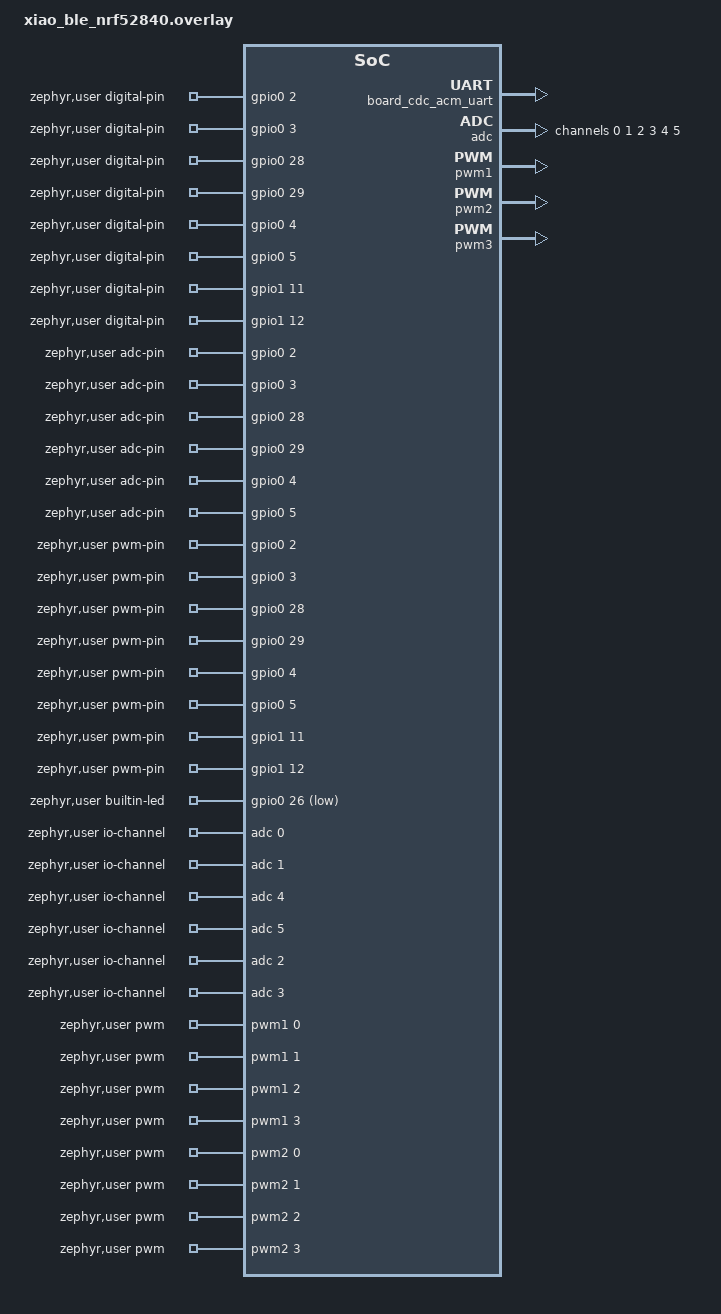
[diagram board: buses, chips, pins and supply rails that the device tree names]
/*
 * Copyright (c) 2026 Seeed Technology Inc.
 *
 * SPDX-License-Identifier: Apache-2.0
 */

/*
 * Pin map (from boards/seeed/xiao_ble/seeed_xiao_connector.dtsi):
 *   D0..D5  = P0.02 P0.03 P0.28 P0.29 P0.04 P0.05  (A0..A5 = AIN0,1,4,5,2,3)
 *   D6..D10 = P1.11 P1.12 P1.13 P1.14 P1.15         (TX RX SCK MISO MOSI)
 *   RGB LED = P0.26 (red) P0.30 (green) P0.06 (blue), all active low.
 *   Index order follows the Seeed nRF52 core convention (NOT physical
 *   R,G,B order): D11=red, D12=BLUE (P0.06), D13=GREEN (P0.30).
 *
 * PWM assignment (pwm0 is left to the board, used by pwmleds):
 *   pwm1 ch0..3 = D0..D3, pwm2 ch0..3 = D4..D7, pwm3 ch0..2 = D8..D10
 */

/ {
	/* console/shell stay on the board default (USB CDC ACM); uart0 on
	 * D6/D7 is only exposed to sketches as Serial1. */

	zephyr,user {
		digital-pin-gpios = <&gpio0 2 0>,			/* D0 */
				    <&gpio0 3 0>,			/* D1 */
				    <&gpio0 28 0>,			/* D2 */
				    <&gpio0 29 0>,			/* D3 */
				    <&gpio0 4 0>,			/* D4 / SDA */
				    <&gpio0 5 0>,			/* D5 / SCL */
				    <&gpio1 11 0>,			/* D6 / TX */
				    <&gpio1 12 0>,			/* D7 / RX */
				    <&gpio1 13 0>,			/* D8 / SCK */
				    <&gpio1 14 0>,			/* D9 / MISO */
				    <&gpio1 15 0>,			/* D10 / MOSI */
				    <&gpio0 26 GPIO_ACTIVE_LOW>,	/* D11 LED red */
				    <&gpio0 6 GPIO_ACTIVE_LOW>,		/* D12 LED blue */
				    <&gpio0 30 GPIO_ACTIVE_LOW>;	/* D13 LED green */

		adc-pin-gpios = <&gpio0 2 0>,			/* A0 */
				<&gpio0 3 0>,			/* A1 */
				<&gpio0 28 0>,			/* A2 */
				<&gpio0 29 0>,			/* A3 */
				<&gpio0 4 0>,			/* A4 */
				<&gpio0 5 0>;			/* A5 */

		pwm-pin-gpios = <&gpio0 2 0>,
				<&gpio0 3 0>,
				<&gpio0 28 0>,
				<&gpio0 29 0>,
				<&gpio0 4 0>,
				<&gpio0 5 0>,
				<&gpio1 11 0>,
				<&gpio1 12 0>,
				<&gpio1 13 0>,
				<&gpio1 14 0>,
				<&gpio1 15 0>;

		builtin-led-gpios = <&gpio0 26 GPIO_ACTIVE_LOW>;	/* LED_BUILTIN = red */

		pwms = <&pwm1 0 PWM_HZ(500) PWM_POLARITY_NORMAL>,
		       <&pwm1 1 PWM_HZ(500) PWM_POLARITY_NORMAL>,
		       <&pwm1 2 PWM_HZ(500) PWM_POLARITY_NORMAL>,
		       <&pwm1 3 PWM_HZ(500) PWM_POLARITY_NORMAL>,
		       <&pwm2 0 PWM_HZ(500) PWM_POLARITY_NORMAL>,
		       <&pwm2 1 PWM_HZ(500) PWM_POLARITY_NORMAL>,
		       <&pwm2 2 PWM_HZ(500) PWM_POLARITY_NORMAL>,
		       <&pwm2 3 PWM_HZ(500) PWM_POLARITY_NORMAL>,
		       <&pwm3 0 PWM_HZ(500) PWM_POLARITY_NORMAL>,
		       <&pwm3 1 PWM_HZ(500) PWM_POLARITY_NORMAL>,
		       <&pwm3 2 PWM_HZ(500) PWM_POLARITY_NORMAL>;

		io-channels = <&adc 0>,				/* A0 = AIN0 */
			      <&adc 1>,				/* A1 = AIN1 */
			      <&adc 4>,				/* A2 = AIN4 */
			      <&adc 5>,				/* A3 = AIN5 */
			      <&adc 2>,				/* A4 = AIN2 */
			      <&adc 3>;				/* A5 = AIN3 */

		cdc-acm-serial = <&board_cdc_acm_uart>;
		serials = <&uart0>;
		i2cs = <&i2c1>;
		spis = <&spi2>;
	};
};

&zephyr_udc0 {
	board_cdc_acm_uart: board_cdc_acm_uart {
		compatible = "zephyr,cdc-acm-uart";
		status = "okay";
	};
};

&flash0 {
	partitions {
		code_partition: partition@27000 {
			reg = <0x00027000 0x00060000>;	/* loader: 384 KB */
		};

		user_sketch: partition@87000 {
			compatible = "zephyr,mapped-partition";
			label = "user";
			reg = <0x00087000 0x00065000>;	/* sketch: 404 KB */
		};
	};
};

&adc {
	#address-cells = <1>;
	#size-cells = <0>;

	channel@0 {
		reg = <0>;
		zephyr,gain = "ADC_GAIN_1_6";
		zephyr,reference = "ADC_REF_INTERNAL";
		zephyr,acquisition-time = <ADC_ACQ_TIME_DEFAULT>;
		zephyr,input-positive = <NRF_SAADC_AIN0>; /* P0.02 */
		zephyr,resolution = <12>;
	};

	channel@1 {
		reg = <1>;
		zephyr,gain = "ADC_GAIN_1_6";
		zephyr,reference = "ADC_REF_INTERNAL";
		zephyr,acquisition-time = <ADC_ACQ_TIME_DEFAULT>;
		zephyr,input-positive = <NRF_SAADC_AIN1>; /* P0.03 */
		zephyr,resolution = <12>;
	};

	channel@2 {
		reg = <2>;
		zephyr,gain = "ADC_GAIN_1_6";
		zephyr,reference = "ADC_REF_INTERNAL";
		zephyr,acquisition-time = <ADC_ACQ_TIME_DEFAULT>;
		zephyr,input-positive = <NRF_SAADC_AIN2>; /* P0.04 */
		zephyr,resolution = <12>;
	};

	channel@3 {
		reg = <3>;
		zephyr,gain = "ADC_GAIN_1_6";
		zephyr,reference = "ADC_REF_INTERNAL";
		zephyr,acquisition-time = <ADC_ACQ_TIME_DEFAULT>;
		zephyr,input-positive = <NRF_SAADC_AIN3>; /* P0.05 */
		zephyr,resolution = <12>;
	};

	channel@4 {
		reg = <4>;
		zephyr,gain = "ADC_GAIN_1_6";
		zephyr,reference = "ADC_REF_INTERNAL";
		zephyr,acquisition-time = <ADC_ACQ_TIME_DEFAULT>;
		zephyr,input-positive = <NRF_SAADC_AIN4>; /* P0.28 */
		zephyr,resolution = <12>;
	};

	channel@5 {
		reg = <5>;
		zephyr,gain = "ADC_GAIN_1_6";
		zephyr,reference = "ADC_REF_INTERNAL";
		zephyr,acquisition-time = <ADC_ACQ_TIME_DEFAULT>;
		zephyr,input-positive = <NRF_SAADC_AIN5>; /* P0.29 */
		zephyr,resolution = <12>;
	};
};

&pinctrl {
	empty_default: empty_default {
		group1 {
			psels = <>;
		};
	};

	pwm1_default: pwm1_default {
		group1 {
			psels = <NRF_PSEL(PWM_OUT0, 0, 2)>,
				<NRF_PSEL(PWM_OUT1, 0, 3)>,
				<NRF_PSEL(PWM_OUT2, 0, 28)>,
				<NRF_PSEL(PWM_OUT3, 0, 29)>;
			nordic,invert;
		};
	};

	pwm1_sleep: pwm1_sleep {
		group1 {
			psels = <NRF_PSEL(PWM_OUT0, 0, 2)>,
				<NRF_PSEL(PWM_OUT1, 0, 3)>,
				<NRF_PSEL(PWM_OUT2, 0, 28)>,
				<NRF_PSEL(PWM_OUT3, 0, 29)>;
			low-power-enable;
		};
	};

	pwm2_default: pwm2_default {
		group1 {
			psels = <NRF_PSEL(PWM_OUT0, 0, 4)>,
				<NRF_PSEL(PWM_OUT1, 0, 5)>,
				<NRF_PSEL(PWM_OUT2, 1, 11)>,
				<NRF_PSEL(PWM_OUT3, 1, 12)>;
			nordic,invert;
		};
	};

	pwm2_sleep: pwm2_sleep {
		group1 {
			psels = <NRF_PSEL(PWM_OUT0, 0, 4)>,
				<NRF_PSEL(PWM_OUT1, 0, 5)>,
				<NRF_PSEL(PWM_OUT2, 1, 11)>,
				<NRF_PSEL(PWM_OUT3, 1, 12)>;
			low-power-enable;
		};
	};

	pwm3_default: pwm3_default {
		group1 {
			psels = <NRF_PSEL(PWM_OUT0, 1, 13)>,
				<NRF_PSEL(PWM_OUT1, 1, 14)>,
				<NRF_PSEL(PWM_OUT2, 1, 15)>;
			nordic,invert;
		};
	};

	pwm3_sleep: pwm3_sleep {
		group1 {
			psels = <NRF_PSEL(PWM_OUT0, 1, 13)>,
				<NRF_PSEL(PWM_OUT1, 1, 14)>,
				<NRF_PSEL(PWM_OUT2, 1, 15)>;
			low-power-enable;
		};
	};
};

&pwm1 {
	status = "okay";
	zephyr,deferred-init;
	pinctrl-0 = <&empty_default>;
	pinctrl-1 = <&pwm1_sleep>;
	pinctrl-2 = <&pwm1_default>;
	pinctrl-names = "default", "sleep", "arduino";
};

&pwm2 {
	status = "okay";
	zephyr,deferred-init;
	pinctrl-0 = <&empty_default>;
	pinctrl-1 = <&pwm2_sleep>;
	pinctrl-2 = <&pwm2_default>;
	pinctrl-names = "default", "sleep", "arduino";
};

&pwm3 {
	status = "okay";
	zephyr,deferred-init;
	pinctrl-0 = <&empty_default>;
	pinctrl-1 = <&pwm3_sleep>;
	pinctrl-2 = <&pwm3_default>;
	pinctrl-names = "default", "sleep", "arduino";
};
